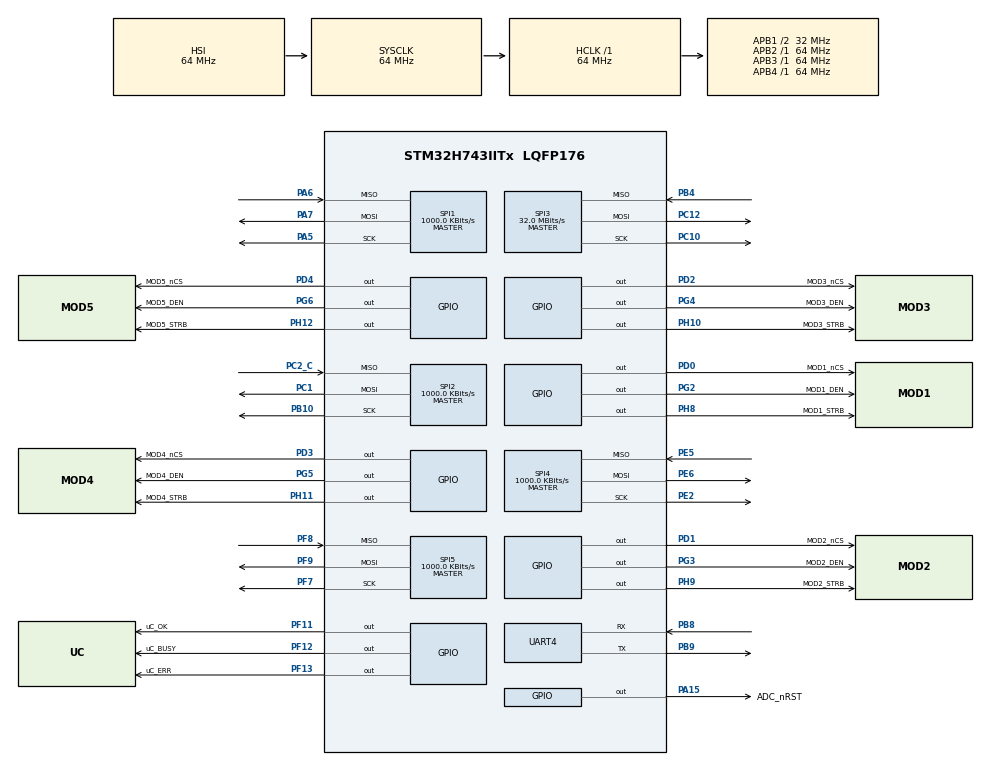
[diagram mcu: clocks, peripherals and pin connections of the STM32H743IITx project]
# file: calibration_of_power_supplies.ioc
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Mcu.Family=STM32H7
PA6.Mode=Full_Duplex_Master
RCC.CortexFreq_Value=64000000
SPI3.Direction=SPI_DIRECTION_2LINES
SPI4.VirtualType=VM_MASTER
PC10.GPIO_PuPd=GPIO_PULLDOWN
SPI3.VirtualType=VM_MASTER
PH12.Signal=GPIO_Output
PG6.Signal=GPIO_Output
PB10.GPIO_Speed=GPIO_SPEED_FREQ_HIGH
SPI1.VirtualType=VM_MASTER
PH10.Signal=GPIO_Output
PB10.GPIO_PuPd=GPIO_PULLDOWN
SPI2.VirtualType=VM_MASTER
PB10.Mode=Full_Duplex_Master
PH0-OSC_IN\ (PH0).Signal=RCC_OSC_IN
PG2.Signal=GPIO_Output
PG4.Signal=GPIO_Output
PC10.Signal=SPI3_SCK
PC12.Signal=SPI3_MOSI
PG6.GPIO_Label=MOD5_DEN
RCC.PLLFRACN=3072
SPI4.Direction=SPI_DIRECTION_2LINES
SPI5.DataSize=SPI_DATASIZE_8BIT
PE2.GPIO_Speed=GPIO_SPEED_FREQ_HIGH
PD0.GPIO_Label=MOD1_nCS
PC10.GPIO_Speed=GPIO_SPEED_FREQ_HIGH
PA15\ (JTDI).Signal=GPIO_Output
PG5.GPIO_Label=MOD4_DEN
ProjectManager.StackSize=0x400
RCC.SPI123CLockSelection=RCC_SPI123CLKSOURCE_CLKP
PA14\ (JTCK/SWCLK).Signal=DEBUG_JTCK-SWCLK
SPI4.Mode=SPI_MODE_MASTER
PE5.GPIO_PuPd=GPIO_PULLDOWN
PF7.Signal=SPI5_SCK
PH9.Signal=GPIO_Output
SPI1.Direction=SPI_DIRECTION_2LINES
RCC.HCLKFreq_Value=64000000
PE2.Mode=Full_Duplex_Master
PD4.Signal=GPIO_Output
PF11.GPIO_Label=uC_OK
PF12.Signal=GPIO_Output
SPI1.CalculateBaudRate=1000.0 KBits/s
PD0.Signal=GPIO_Output
PE5.Signal=SPI4_MISO
PC2_C.Signal=SPI2_MISO
SPI2.BaudRatePrescaler=SPI_BAUDRATEPRESCALER_64
PH10.GPIO_Label=MOD3_STRB
SPI3.DataSize=SPI_DATASIZE_8BIT
RCC.DIVM1=4
PD1.GPIO_Label=MOD2_nCS
PF12.GPIO_Label=uC_BUSY
PA6.GPIO_PuPd=GPIO_PULLDOWN
PF9.Mode=Full_Duplex_Master
PF7.GPIO_Speed=GPIO_SPEED_FREQ_HIGH
PF8.GPIO_PuPd=GPIO_PULLDOWN
PA5.GPIO_PuPd=GPIO_PULLDOWN
PF11.Signal=GPIO_Output
SPI1.DataSize=SPI_DATASIZE_8BIT
PG4.GPIO_Label=MOD3_DEN
SPI2.CalculateBaudRate=1000.0 KBits/s
PE2.Signal=SPI4_SCK
PF8.Mode=Full_Duplex_Master
PA14\ (JTCK/SWCLK).Mode=Serial_Wire
SPI4.BaudRatePrescaler=SPI_BAUDRATEPRESCALER_32
RCC.APB3Freq_Value=64000000
Mcu.Package=LQFP176
PB9.Signal=UART4_TX
SPI5.BaudRatePrescaler=SPI_BAUDRATEPRESCALER_32
PA6.Signal=SPI1_MISO
SPI2.Mode=SPI_MODE_MASTER
SPI3.Mode=SPI_MODE_MASTER
PF8.Signal=SPI5_MISO
SPI5.CalculateBaudRate=1000.0 KBits/s
RCC.APB4Freq_Value=64000000
SPI2.Direction=SPI_DIRECTION_2LINES
PD3.GPIO_Label=MOD4_nCS
SPI1.BaudRatePrescaler=SPI_BAUDRATEPRESCALER_64
PH0-OSC_IN\ (PH0).Mode=HSE-External-Clock-Source
SPI5.VirtualType=VM_MASTER
PG2.GPIO_Label=MOD1_DEN
NVIC.UART4_IRQn=true\:0\:0\:false\:false\:true\:true\:true
PA5.Mode=Full_Duplex_Master
RCC.DIVQ2=8
PA7.Mode=Full_Duplex_Master
PA13\ (JTMS/SWDIO).Mode=Serial_Wire
PH11.Signal=GPIO_Output
PH12.GPIO_Label=MOD5_STRB
SPI4.DataSize=SPI_DATASIZE_8BIT
PG3.Signal=GPIO_Output
PG5.Signal=GPIO_Output
PD3.Signal=GPIO_Output
PC10.Mode=Full_Duplex_Master
PD1.Signal=GPIO_Output
RCC.D2PPRE1=RCC_APB1_DIV2
PF13.GPIO_Label=uC_ERR
SPI5.Mode=SPI_MODE_MASTER
PF7.Mode=Full_Duplex_Master
PH8.GPIO_Label=MOD1_STRB
ProjectManager.TargetToolchain=STM32CubeIDE
PH8.Signal=GPIO_Output
PB9.Mode=Asynchronous
PH11.GPIO_Label=MOD4_STRB
RCC.DIVN2=128
RCC.DIVN1=9
PC2_C.Mode=Full_Duplex_Master
RCC.USBFreq_Value=75000000
PB10.Signal=SPI2_SCK
PE2.GPIO_PuPd=GPIO_PULLDOWN
PA5.Signal=SPI1_SCK
PH9.GPIO_Label=MOD2_STRB
PC12.Mode=Full_Duplex_Master
board=custom
PC2_C.GPIO_PuPd=GPIO_PULLDOWN
RCC.APB2Freq_Value=64000000
SPI3.CalculateBaudRate=32.0 MBits/s
PE6.Mode=Full_Duplex_Master
SPI1.Mode=SPI_MODE_MASTER
PD4.GPIO_Label=MOD5_nCS
PE5.Mode=Full_Duplex_Master
RCC.ADCFreq_Value=128000000
SPI4.CalculateBaudRate=1000.0 KBits/s
PF13.Signal=GPIO_Output
PE6.Signal=SPI4_MOSI
PB4\ (NJTRST).Mode=Full_Duplex_Master
PA15\ (JTDI).GPIO_Label=ADC_nRST
Mcu.Name=STM32H743IITx
PF7.GPIO_PuPd=GPIO_PULLDOWN
RCC.SYSCLKFreq_VALUE=64000000
RCC.Spi45ClockSelection=RCC_SPI45CLKSOURCE_PLL2
ProjectManager.HeapSize=0x200
PF9.Signal=SPI5_MOSI
PA5.GPIO_Speed=GPIO_SPEED_FREQ_HIGH
NVIC.PriorityGroup=NVIC_PRIORITYGROUP_4
RCC.USART234578CLockSelection=RCC_USART234578CLKSOURCE_PLL2
PB8.Mode=Asynchronous
PB8.Signal=UART4_RX
SPI2.DataSize=SPI_DATASIZE_8BIT
PG3.GPIO_Label=MOD2_DEN
PD2.Signal=GPIO_Output
RCC.APB1Freq_Value=32000000
PB4\ (NJTRST).GPIO_PuPd=GPIO_PULLDOWN
PC1.Signal=SPI2_MOSI
PD2.GPIO_Label=MOD3_nCS
PA13\ (JTMS/SWDIO).Signal=DEBUG_JTMS-SWDIO
PC1.Mode=Full_Duplex_Master
SPI5.Direction=SPI_DIRECTION_2LINES
PA7.Signal=SPI1_MOSI
PB4\ (NJTRST).Signal=SPI3_MISO

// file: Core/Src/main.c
/* USER CODE BEGIN Header */
/**
  ******************************************************************************
  * @file           : main.c
  * @brief          : Main program body
  ******************************************************************************
  * @attention
  *
  * <h2><center>&copy; Copyright (c) 2021 STMicroelectronics.
  * All rights reserved.</center></h2>
  *
  * This software component is licensed by ST under BSD 3-Clause license,
  * the "License"; You may not use this file except in compliance with the
  * License. You may obtain a copy of the License at:
  *                        opensource.org/licenses/BSD-3-Clause
  *
  ******************************************************************************
  */
/* USER CODE END Header */
#include "main.h"
#include "stdio.h"
#include "ADS8699.h"
#include "Shift_Register.h"

SPI_HandleTypeDef hspi1;
SPI_HandleTypeDef hspi2;
SPI_HandleTypeDef hspi3;
SPI_HandleTypeDef hspi4;
SPI_HandleTypeDef hspi5;

UART_HandleTypeDef huart4;

void SystemClock_Config(void);
void PeriphCommonClock_Config(void);
static void MX_GPIO_Init(void);
static void MX_SPI1_Init(void);
static void MX_SPI2_Init(void);
static void MX_SPI3_Init(void);
static void MX_UART4_Init(void);
static void MX_SPI4_Init(void);
static void MX_SPI5_Init(void);

/* USER CODE BEGIN 0 */

uint8_t shiftregister_thermocouple=0xE1; // Default data to configure the ADC chip on thermocouple module when power up the calibration station
uint8_t shiftregister_thermocouple1=0xF1; // Configure Channel1 of the ADC in thermocouple module in default
uint8_t tx3;
uint8_t tx4;
int i=1;
int j=0;

//Function to select the current range and gain of the programmable gain instrumentation amplifier

HAL_StatusTypeDef CAL_writeShiftRegister1(SPI_HandleTypeDef* spi1, GPIO_TypeDef* GPIOx, uint16_t GPIO_Pin, uint8_t* tx)

{

  // Make sure we start with strobe pin
  HAL_GPIO_WritePin(GPIOx,GPIO_Pin, GPIO_PIN_RESET); // reset state

  // Write and read
  HAL_SPI_Transmit(spi1, tx,2, 100);

  for(int i = 0; i < 500; i++) { __NOP(); } // Wait N cycles
  HAL_GPIO_WritePin(GPIOx,GPIO_Pin, GPIO_PIN_SET);
  for(int i = 0; i < 500; i++) { __NOP(); } // Wait N cycles
  HAL_GPIO_WritePin(GPIOx,GPIO_Pin, GPIO_PIN_RESET);
}

struct send_data {

	  uint8_t sync ;
	  uint8_t current_range;
	  uint8_t voltage_range;
	  float current_value;              //Structure to transmit and receive data to and from the LCD display
	  float voltage_value;
	  float temperature_chanel1;
	  float temperature_chanel2;
	  float temperature_chanel3;
	  float temperature_chanel4;
	  uint8_t ack;

}send_data;

struct send_data test_tx_data;

char transmit_buffer1[sizeof(send_data)+1];

void HAL_UART_RxCpltCallback(UART_HandleTypeDef *huart)
{

	HAL_UART_Receive_IT(&huart4,transmit_buffer1,sizeof(transmit_buffer1));

	memcpy(&test_tx_data,transmit_buffer1,sizeof(send_data));
}

/* USER CODE END 0 */

int main(void)
{

  /* MCU Configuration--------------------------------------------------------*/

  /* Reset of all peripherals, Initializes the Flash interface and the Systick. */
  HAL_Init();

  /* Configure the system clock */
  SystemClock_Config();

/* Configure the peripherals common clocks */
  PeriphCommonClock_Config();

  /* Initialize all configured peripherals */
  MX_GPIO_Init();
  MX_SPI1_Init();
  MX_SPI2_Init();
  MX_SPI3_Init();
  MX_UART4_Init();
  MX_SPI4_Init();
  MX_SPI5_Init();
  /* USER CODE BEGIN 2 */

  HAL_GPIO_WritePin(GPIOF, uC_OK_Pin, GPIO_PIN_SET); // OK LED turn on -> Init complete

    uint8_t voltage_buff[4];
 	uint8_t current_buff[4];  //Receive buffers to receive 32 bit data from ADC ADS8699 SDO_CTL_REG register using SPI
 	uint8_t temperature_buff[4];

    uint32_t ADC_data[3];
    uint32_t ADC_raw_voltage;
    uint32_t ADC_raw_current;
    uint32_t ADC_raw_temperature;
    float intermediate_result[7];
    float measured_voltage;
    float measured_current;
    float measured_temperature;
    uint8_t shiftregister_current[2]={0x03,0x01}; //Data to select gain and current range

	test_tx_data.sync=0x00;
	test_tx_data.current_range=0x01;
	test_tx_data.voltage_range=0x00;
	test_tx_data.current_value=0x00;
	test_tx_data.voltage_value=0x00;
	test_tx_data.temperature_chanel1=0x00;   // Storing all default values in structure to send to LCD display
	test_tx_data.temperature_chanel2=0x00;
	test_tx_data.temperature_chanel3=0x00;
	test_tx_data.temperature_chanel4=0x00;
	test_tx_data.ack=0x01;

  memcpy(transmit_buffer1,&test_tx_data,sizeof(send_data)); // storing all data from structure to transmit buffer

  while(test_tx_data.ack !=0x1F)

  {

  HAL_UART_Transmit(&huart4,transmit_buffer1,sizeof(transmit_buffer1),100);
  HAL_UART_Receive_IT(&huart4,transmit_buffer1,sizeof(transmit_buffer1));

  }

  HAL_GPIO_WritePin(MOD1_DEN_GPIO_Port, MOD1_DEN_Pin, GPIO_PIN_SET);   // To enable ADC
  HAL_GPIO_WritePin(ADC_nRST_GPIO_Port, ADC_nRST_Pin, GPIO_PIN_SET);   //To reset ADC
  CAL_ADS8699_Configuration(&hspi1,GPIOD, MOD1_nCS_Pin,0x00,0x00,0x00); // function call to configure ADC in slot1

  CAL_writeShiftRegister1(&hspi4,GPIOH,MOD2_STRB_Pin,shiftregister_current);
  HAL_GPIO_WritePin(ADC_nRST_GPIO_Port, ADC_nRST_Pin, GPIO_PIN_SET);
  HAL_GPIO_WritePin(MOD2_DEN_GPIO_Port, MOD2_DEN_Pin, GPIO_PIN_SET);
  CAL_ADS8699_Configuration(&hspi2,MOD2_nCS_GPIO_Port, MOD2_nCS_Pin,0x00,0x00,0x00);  //function call to configure ADC in slot2

  HAL_GPIO_WritePin(ADC_nRST_GPIO_Port, ADC_nRST_Pin, GPIO_PIN_SET);
  HAL_GPIO_WritePin(MOD5_DEN_GPIO_Port, MOD5_DEN_Pin, GPIO_PIN_SET);                //function call to configure ADC inslot 5
  HAL_GPIO_WritePin(MOD5_nCS_GPIO_Port, MOD5_nCS_Pin, GPIO_PIN_RESET);
  CAL_ADC_ThermoCoupleModule_Configuration(&hspi3,&hspi5,MOD5_STRB_GPIO_Port, MOD5_STRB_Pin, &shiftregister_thermocouple,&shiftregister_thermocouple1,0x00,0x00,0x00);

  /* USER CODE END 2 */

  /* Infinite loop */
  while (1)
  {

  CAL_ADS8699_Read_Data(&hspi1,GPIOD, MOD1_nCS_Pin, voltage_buff); // To read data from first slot

  CAL_ADS8699_Read_Data(&hspi2,MOD2_nCS_GPIO_Port, MOD2_nCS_Pin, current_buff); //To read data from second slot

  CAL_ADC_ThermoCoupleModule_Read_Data(&hspi3,&hspi5,MOD5_STRB_GPIO_Port, MOD5_STRB_Pin, &shiftregister_thermocouple,&shiftregister_thermocouple1, temperature_buff); //To read data from third slot

  //Converting measured ADC data into real time values using proper formulas

      ADC_data[0] = voltage_buff[0]<<24|voltage_buff[1]<<16|voltage_buff[2]<<8|voltage_buff[3];
	       ADC_raw_voltage = ADC_data[0]>>14;                         // Considering olny 18 bits data from 32 bit data. Because ADS8699 is a 18 bit ADC
	intermediate_result[0] = (262143-ADC_raw_voltage)*0.00009375;     // Converting ADC raw value into real time voltage using formula 𝑀𝑒𝑎𝑠𝑢𝑟𝑒𝑑_𝑉𝑜𝑙𝑡𝑎𝑔𝑒=𝐼𝑛𝑝𝑢𝑡 𝑟𝑎𝑛𝑔𝑒 𝑜𝑓 𝐴𝐷𝐶−((2^(no.of bits)−𝐴𝐷𝐶 𝑜𝑢𝑡𝑝𝑢𝑡)×𝑅𝑒𝑠𝑜𝑙𝑢𝑡𝑖𝑜𝑛 𝑜𝑓 𝐴𝐷𝐶)
		  measured_voltage = 12.288-intermediate_result[0];

  		       ADC_data[1] = current_buff[0]<<24|current_buff[1]<<16|current_buff[2]<<8|current_buff[3];
  		   ADC_raw_current = ADC_data[1]>>14;
  	intermediate_result[1] = (262143-ADC_raw_current)*0.00009375;
  	intermediate_result[2] = 12.288-intermediate_result[1];
  	intermediate_result[3] = (intermediate_result[2]-2.5)*10.7;    //Converting ADC raw value to current using formula 𝑀𝑒𝑎𝑠𝑢𝑟𝑒𝑑_𝐶𝑢𝑟𝑟𝑒𝑛𝑡=(𝑀𝑒𝑎𝑠𝑢𝑟𝑒𝑑_𝑉𝑜𝑙𝑡𝑎𝑔𝑒−2.5)/(gain of the PGIA×𝑆ℎ𝑢𝑛𝑡 𝑟𝑒𝑠𝑖𝑠𝑡𝑎𝑛𝑐𝑒)
  	intermediate_result[4] = intermediate_result[3]/1000;
  	      measured_current = intermediate_result[4]/10.11;

               ADC_data[2] = temperature_buff[0]<<24|temperature_buff[1]<<16|temperature_buff[2]<<8|temperature_buff[3];
       ADC_raw_temperature = ADC_data[2]>>14;
    intermediate_result[5] = (262143-ADC_raw_temperature)*0.00009375;
    intermediate_result[6] = 12.288-intermediate_result[5];
	  measured_temperature = (intermediate_result[6]/0.005)-3;      //Converting ADC raw value to temperature using formula 𝑀𝑒𝑎𝑠𝑢𝑟𝑒𝑑_𝑇𝑒𝑚𝑝𝑒𝑟𝑎𝑡𝑢𝑟𝑒=(𝑀𝑒𝑎𝑠𝑢𝑟𝑒𝑑_𝑉𝑜𝑙𝑡𝑎𝑔𝑒)/(5𝑚𝑉/°𝐶) + 𝑅𝑒𝑓𝑒𝑟𝑒𝑛𝑐𝑒 𝑉𝑜𝑙𝑡𝑎𝑔𝑒 ± 3°C offset

  HAL_UART_Receive_IT(&huart4,transmit_buffer1,sizeof(transmit_buffer1)); //Receiving data from LCD display and storing in structure
  memcpy(&test_tx_data,transmit_buffer1,sizeof(send_data));

  switch(j)

   {
  			case 0:

  		test_tx_data.temperature_chanel1 = measured_temperature;   //storing the measured temperature in structure depending on the configured channel

  			break;

  		    case 1:

  		test_tx_data.temperature_chanel2 = measured_temperature;

  			break;

  			case 2:

  		test_tx_data.temperature_chanel3 = measured_temperature;

  			break;

  			case 3:

  		test_tx_data.temperature_chanel4 = measured_temperature;

  			break;

  			default:

  		test_tx_data.temperature_chanel1 = measured_temperature;

  			break;
  		}

  if(test_tx_data.sync==0xFF)
  	{

  	    test_tx_data.current_value=measured_current;
  		test_tx_data.voltage_value=measured_voltage; //Transmitting measured data to LCD display
  	    memcpy(transmit_buffer1,&test_tx_data,sizeof(send_data));
        HAL_UART_Transmit(&huart4,(uint8_t *)transmit_buffer1,sizeof(transmit_buffer1),100);
  	}

  if(i!=4)
   {
	  shiftregister_thermocouple=Thermo_Couple_Channel_Select_Data(i);
	  shiftregister_thermocouple1=Thermo_Couple_Channel_Select_Data1(i); //Selecting the channel of ADC in thermocouple module

  	  CAL_ADC_ThermoCoupleModule_Configuration(&hspi3,&hspi5,GPIOH, MOD5_STRB_Pin,&shiftregister_thermocouple,&shiftregister_thermocouple1,0x00,0x00,0x00);	//Reconfiguring the ADC with new data

  	  i=i+1;
  	  j=j+1;

  		}

  	else
  	{

  		CAL_ADC_ThermoCoupleModule_Configuration(&hspi3,&hspi5,GPIOH, MOD5_STRB_Pin,(uint8_t *)0xE1, (uint8_t *)0xF1,0x00,0x00,0x00); //Configuring default channel1 of thermocouple module
  		i=0;
  	    j=0;

  	}

  HAL_Delay(1);
  }
}

void SystemClock_Config(void)
{
  RCC_OscInitTypeDef RCC_OscInitStruct = {0};
  RCC_ClkInitTypeDef RCC_ClkInitStruct = {0};

  /** Supply configuration update enable
  */
  HAL_PWREx_ConfigSupply(PWR_LDO_SUPPLY);
  /** Configure the main internal regulator output voltage
  */
  __HAL_PWR_VOLTAGESCALING_CONFIG(PWR_REGULATOR_VOLTAGE_SCALE3);

  while(!__HAL_PWR_GET_FLAG(PWR_FLAG_VOSRDY)) {}
  /** Macro to configure the PLL clock source
  */
  __HAL_RCC_PLL_PLLSOURCE_CONFIG(RCC_PLLSOURCE_HSI);
  /** Initializes the RCC Oscillators according to the specified parameters
  * in the RCC_OscInitTypeDef structure.
  */
  RCC_OscInitStruct.OscillatorType = RCC_OSCILLATORTYPE_HSI;
  RCC_OscInitStruct.HSIState = RCC_HSI_DIV1;
  RCC_OscInitStruct.HSICalibrationValue = RCC_HSICALIBRATION_DEFAULT;
  RCC_OscInitStruct.PLL.PLLState = RCC_PLL_NONE;
  RCC_OscInitStruct.PLL.PLLSource = RCC_PLLSOURCE_HSI;
  if (HAL_RCC_OscConfig(&RCC_OscInitStruct) != HAL_OK)
  {
    Error_Handler();
  }
  /** Initializes the CPU, AHB and APB buses clocks
  */
  RCC_ClkInitStruct.ClockType = RCC_CLOCKTYPE_HCLK|RCC_CLOCKTYPE_SYSCLK
                              |RCC_CLOCKTYPE_PCLK1|RCC_CLOCKTYPE_PCLK2
                              |RCC_CLOCKTYPE_D3PCLK1|RCC_CLOCKTYPE_D1PCLK1;
  RCC_ClkInitStruct.SYSCLKSource = RCC_SYSCLKSOURCE_HSI;
  RCC_ClkInitStruct.SYSCLKDivider = RCC_SYSCLK_DIV1;
  RCC_ClkInitStruct.AHBCLKDivider = RCC_HCLK_DIV1;
  RCC_ClkInitStruct.APB3CLKDivider = RCC_APB3_DIV1;
  RCC_ClkInitStruct.APB1CLKDivider = RCC_APB1_DIV2;
  RCC_ClkInitStruct.APB2CLKDivider = RCC_APB2_DIV1;
  RCC_ClkInitStruct.APB4CLKDivider = RCC_APB4_DIV1;

  if (HAL_RCC_ClockConfig(&RCC_ClkInitStruct, FLASH_LATENCY_1) != HAL_OK)
  {
    Error_Handler();
  }
}

void PeriphCommonClock_Config(void)
{
  RCC_PeriphCLKInitTypeDef PeriphClkInitStruct = {0};

  /** Initializes the peripherals clock
  */
  PeriphClkInitStruct.PeriphClockSelection = RCC_PERIPHCLK_SPI4|RCC_PERIPHCLK_SPI5
                              |RCC_PERIPHCLK_UART4|RCC_PERIPHCLK_CKPER;
  PeriphClkInitStruct.PLL2.PLL2M = 32;
  PeriphClkInitStruct.PLL2.PLL2N = 128;
  PeriphClkInitStruct.PLL2.PLL2P = 2;
  PeriphClkInitStruct.PLL2.PLL2Q = 8;
  PeriphClkInitStruct.PLL2.PLL2R = 2;
  PeriphClkInitStruct.PLL2.PLL2RGE = RCC_PLL2VCIRANGE_1;
  PeriphClkInitStruct.PLL2.PLL2VCOSEL = RCC_PLL2VCOWIDE;
  PeriphClkInitStruct.PLL2.PLL2FRACN = 0;
  PeriphClkInitStruct.CkperClockSelection = RCC_CLKPSOURCE_HSI;
  PeriphClkInitStruct.Spi45ClockSelection = RCC_SPI45CLKSOURCE_PLL2;
  PeriphClkInitStruct.Usart234578ClockSelection = RCC_USART234578CLKSOURCE_PLL2;
  if (HAL_RCCEx_PeriphCLKConfig(&PeriphClkInitStruct) != HAL_OK)
  {
    Error_Handler();
  }
}

static void MX_SPI1_Init(void)
{

  /* SPI1 parameter configuration*/
  hspi1.Instance = SPI1;
  hspi1.Init.Mode = SPI_MODE_MASTER;
  hspi1.Init.Direction = SPI_DIRECTION_2LINES;
  hspi1.Init.DataSize = SPI_DATASIZE_8BIT;
  hspi1.Init.CLKPolarity = SPI_POLARITY_LOW;
  hspi1.Init.CLKPhase = SPI_PHASE_1EDGE;
  hspi1.Init.NSS = SPI_NSS_SOFT;
  hspi1.Init.BaudRatePrescaler = SPI_BAUDRATEPRESCALER_64;
  hspi1.Init.FirstBit = SPI_FIRSTBIT_MSB;
  hspi1.Init.TIMode = SPI_TIMODE_DISABLE;
  hspi1.Init.CRCCalculation = SPI_CRCCALCULATION_DISABLE;
  hspi1.Init.CRCPolynomial = 0x0;
  hspi1.Init.NSSPMode = SPI_NSS_PULSE_ENABLE;
  hspi1.Init.NSSPolarity = SPI_NSS_POLARITY_LOW;
  hspi1.Init.FifoThreshold = SPI_FIFO_THRESHOLD_01DATA;
  hspi1.Init.TxCRCInitializationPattern = SPI_CRC_INITIALIZATION_ALL_ZERO_PATTERN;
  hspi1.Init.RxCRCInitializationPattern = SPI_CRC_INITIALIZATION_ALL_ZERO_PATTERN;
  hspi1.Init.MasterSSIdleness = SPI_MASTER_SS_IDLENESS_00CYCLE;
  hspi1.Init.MasterInterDataIdleness = SPI_MASTER_INTERDATA_IDLENESS_00CYCLE;
  hspi1.Init.MasterReceiverAutoSusp = SPI_MASTER_RX_AUTOSUSP_DISABLE;
  hspi1.Init.MasterKeepIOState = SPI_MASTER_KEEP_IO_STATE_DISABLE;
  hspi1.Init.IOSwap = SPI_IO_SWAP_DISABLE;
  if (HAL_SPI_Init(&hspi1) != HAL_OK)
  {
    Error_Handler();
  }

}

static void MX_SPI2_Init(void)
{

  /* SPI2 parameter configuration*/
  hspi2.Instance = SPI2;
  hspi2.Init.Mode = SPI_MODE_MASTER;
  hspi2.Init.Direction = SPI_DIRECTION_2LINES;
  hspi2.Init.DataSize = SPI_DATASIZE_8BIT;
  hspi2.Init.CLKPolarity = SPI_POLARITY_LOW;
  hspi2.Init.CLKPhase = SPI_PHASE_1EDGE;
  hspi2.Init.NSS = SPI_NSS_SOFT;
  hspi2.Init.BaudRatePrescaler = SPI_BAUDRATEPRESCALER_64;
  hspi2.Init.FirstBit = SPI_FIRSTBIT_MSB;
  hspi2.Init.TIMode = SPI_TIMODE_DISABLE;
  hspi2.Init.CRCCalculation = SPI_CRCCALCULATION_DISABLE;
  hspi2.Init.CRCPolynomial = 0x0;
  hspi2.Init.NSSPMode = SPI_NSS_PULSE_ENABLE;
  hspi2.Init.NSSPolarity = SPI_NSS_POLARITY_LOW;
  hspi2.Init.FifoThreshold = SPI_FIFO_THRESHOLD_01DATA;
  hspi2.Init.TxCRCInitializationPattern = SPI_CRC_INITIALIZATION_ALL_ZERO_PATTERN;
  hspi2.Init.RxCRCInitializationPattern = SPI_CRC_INITIALIZATION_ALL_ZERO_PATTERN;
  hspi2.Init.MasterSSIdleness = SPI_MASTER_SS_IDLENESS_00CYCLE;
  hspi2.Init.MasterInterDataIdleness = SPI_MASTER_INTERDATA_IDLENESS_00CYCLE;
  hspi2.Init.MasterReceiverAutoSusp = SPI_MASTER_RX_AUTOSUSP_DISABLE;
  hspi2.Init.MasterKeepIOState = SPI_MASTER_KEEP_IO_STATE_DISABLE;
  hspi2.Init.IOSwap = SPI_IO_SWAP_DISABLE;
  if (HAL_SPI_Init(&hspi2) != HAL_OK)
  {
    Error_Handler();
  }

}

static void MX_SPI3_Init(void)
{

  /* SPI3 parameter configuration*/
  hspi3.Instance = SPI3;
  hspi3.Init.Mode = SPI_MODE_MASTER;
  hspi3.Init.Direction = SPI_DIRECTION_2LINES;
  hspi3.Init.DataSize = SPI_DATASIZE_8BIT;
  hspi3.Init.CLKPolarity = SPI_POLARITY_LOW;
  hspi3.Init.CLKPhase = SPI_PHASE_1EDGE;
  hspi3.Init.NSS = SPI_NSS_SOFT;
  hspi3.Init.BaudRatePrescaler = SPI_BAUDRATEPRESCALER_2;
  hspi3.Init.FirstBit = SPI_FIRSTBIT_MSB;
  hspi3.Init.TIMode = SPI_TIMODE_DISABLE;
  hspi3.Init.CRCCalculation = SPI_CRCCALCULATION_DISABLE;
  hspi3.Init.CRCPolynomial = 0x0;
  hspi3.Init.NSSPMode = SPI_NSS_PULSE_ENABLE;
  hspi3.Init.NSSPolarity = SPI_NSS_POLARITY_LOW;
  hspi3.Init.FifoThreshold = SPI_FIFO_THRESHOLD_01DATA;
  hspi3.Init.TxCRCInitializationPattern = SPI_CRC_INITIALIZATION_ALL_ZERO_PATTERN;
  hspi3.Init.RxCRCInitializationPattern = SPI_CRC_INITIALIZATION_ALL_ZERO_PATTERN;
  hspi3.Init.MasterSSIdleness = SPI_MASTER_SS_IDLENESS_00CYCLE;
  hspi3.Init.MasterInterDataIdleness = SPI_MASTER_INTERDATA_IDLENESS_00CYCLE;
  hspi3.Init.MasterReceiverAutoSusp = SPI_MASTER_RX_AUTOSUSP_DISABLE;
  hspi3.Init.MasterKeepIOState = SPI_MASTER_KEEP_IO_STATE_DISABLE;
  hspi3.Init.IOSwap = SPI_IO_SWAP_DISABLE;
  if (HAL_SPI_Init(&hspi3) != HAL_OK)
  {
    Error_Handler();
  }

}

static void MX_SPI4_Init(void)
{

  /* SPI4 parameter configuration*/
  hspi4.Instance = SPI4;
  hspi4.Init.Mode = SPI_MODE_MASTER;
  hspi4.Init.Direction = SPI_DIRECTION_2LINES;
  hspi4.Init.DataSize = SPI_DATASIZE_8BIT;
  hspi4.Init.CLKPolarity = SPI_POLARITY_LOW;
  hspi4.Init.CLKPhase = SPI_PHASE_1EDGE;
  hspi4.Init.NSS = SPI_NSS_SOFT;
  hspi4.Init.BaudRatePrescaler = SPI_BAUDRATEPRESCALER_32;
  hspi4.Init.FirstBit = SPI_FIRSTBIT_MSB;
  hspi4.Init.TIMode = SPI_TIMODE_DISABLE;
  hspi4.Init.CRCCalculation = SPI_CRCCALCULATION_DISABLE;
  hspi4.Init.CRCPolynomial = 0x0;
  hspi4.Init.NSSPMode = SPI_NSS_PULSE_ENABLE;
  hspi4.Init.NSSPolarity = SPI_NSS_POLARITY_LOW;
  hspi4.Init.FifoThreshold = SPI_FIFO_THRESHOLD_01DATA;
  hspi4.Init.TxCRCInitializationPattern = SPI_CRC_INITIALIZATION_ALL_ZERO_PATTERN;
  hspi4.Init.RxCRCInitializationPattern = SPI_CRC_INITIALIZATION_ALL_ZERO_PATTERN;
  hspi4.Init.MasterSSIdleness = SPI_MASTER_SS_IDLENESS_00CYCLE;
  hspi4.Init.MasterInterDataIdleness = SPI_MASTER_INTERDATA_IDLENESS_00CYCLE;
  hspi4.Init.MasterReceiverAutoSusp = SPI_MASTER_RX_AUTOSUSP_DISABLE;
  hspi4.Init.MasterKeepIOState = SPI_MASTER_KEEP_IO_STATE_DISABLE;
  hspi4.Init.IOSwap = SPI_IO_SWAP_DISABLE;
  if (HAL_SPI_Init(&hspi4) != HAL_OK)
  {
    Error_Handler();
  }

}

static void MX_SPI5_Init(void)
{

  /* SPI5 parameter configuration*/
  hspi5.Instance = SPI5;
  hspi5.Init.Mode = SPI_MODE_MASTER;
  hspi5.Init.Direction = SPI_DIRECTION_2LINES;
  hspi5.Init.DataSize = SPI_DATASIZE_8BIT;
  hspi5.Init.CLKPolarity = SPI_POLARITY_LOW;
  hspi5.Init.CLKPhase = SPI_PHASE_1EDGE;
  hspi5.Init.NSS = SPI_NSS_SOFT;
  hspi5.Init.BaudRatePrescaler = SPI_BAUDRATEPRESCALER_32;
  hspi5.Init.FirstBit = SPI_FIRSTBIT_MSB;
  hspi5.Init.TIMode = SPI_TIMODE_DISABLE;
  hspi5.Init.CRCCalculation = SPI_CRCCALCULATION_DISABLE;
  hspi5.Init.CRCPolynomial = 0x0;
  hspi5.Init.NSSPMode = SPI_NSS_PULSE_ENABLE;
  hspi5.Init.NSSPolarity = SPI_NSS_POLARITY_LOW;
  hspi5.Init.FifoThreshold = SPI_FIFO_THRESHOLD_01DATA;
  hspi5.Init.TxCRCInitializationPattern = SPI_CRC_INITIALIZATION_ALL_ZERO_PATTERN;
  hspi5.Init.RxCRCInitializationPattern = SPI_CRC_INITIALIZATION_ALL_ZERO_PATTERN;
  hspi5.Init.MasterSSIdleness = SPI_MASTER_SS_IDLENESS_00CYCLE;
  hspi5.Init.MasterInterDataIdleness = SPI_MASTER_INTERDATA_IDLENESS_00CYCLE;
  hspi5.Init.MasterReceiverAutoSusp = SPI_MASTER_RX_AUTOSUSP_DISABLE;
  hspi5.Init.MasterKeepIOState = SPI_MASTER_KEEP_IO_STATE_DISABLE;
  hspi5.Init.IOSwap = SPI_IO_SWAP_DISABLE;
  if (HAL_SPI_Init(&hspi5) != HAL_OK)
  {
    Error_Handler();
  }

}

static void MX_UART4_Init(void)
{

  huart4.Instance = UART4;
  huart4.Init.BaudRate = 115200;
  huart4.Init.WordLength = UART_WORDLENGTH_8B;
  huart4.Init.StopBits = UART_STOPBITS_1;
  huart4.Init.Parity = UART_PARITY_NONE;
  huart4.Init.Mode = UART_MODE_TX_RX;
  huart4.Init.HwFlowCtl = UART_HWCONTROL_NONE;
  huart4.Init.OverSampling = UART_OVERSAMPLING_16;
  huart4.Init.OneBitSampling = UART_ONE_BIT_SAMPLE_DISABLE;
  huart4.Init.ClockPrescaler = UART_PRESCALER_DIV1;
  huart4.AdvancedInit.AdvFeatureInit = UART_ADVFEATURE_NO_INIT;
  if (HAL_UART_Init(&huart4) != HAL_OK)
  {
    Error_Handler();
  }
  if (HAL_UARTEx_SetTxFifoThreshold(&huart4, UART_TXFIFO_THRESHOLD_1_8) != HAL_OK)
  {
    Error_Handler();
  }
  if (HAL_UARTEx_SetRxFifoThreshold(&huart4, UART_RXFIFO_THRESHOLD_1_8) != HAL_OK)
  {
    Error_Handler();
  }
  if (HAL_UARTEx_DisableFifoMode(&huart4) != HAL_OK)
  {
    Error_Handler();
  }

}

static void MX_GPIO_Init(void)
{
  GPIO_InitTypeDef GPIO_InitStruct = {0};

  /* GPIO Ports Clock Enable */
  __HAL_RCC_GPIOE_CLK_ENABLE();
  __HAL_RCC_GPIOF_CLK_ENABLE();
  __HAL_RCC_GPIOH_CLK_ENABLE();
  __HAL_RCC_GPIOC_CLK_ENABLE();
  __HAL_RCC_GPIOA_CLK_ENABLE();
  __HAL_RCC_GPIOB_CLK_ENABLE();
  __HAL_RCC_GPIOG_CLK_ENABLE();
  __HAL_RCC_GPIOD_CLK_ENABLE();

  /*Configure GPIO pin Output Level */
  HAL_GPIO_WritePin(GPIOF, uC_OK_Pin|uC_BUSY_Pin|uC_ERR_Pin, GPIO_PIN_RESET);

  /*Configure GPIO pin Output Level */
  HAL_GPIO_WritePin(GPIOH, MOD1_STRB_Pin|MOD2_STRB_Pin|MOD3_STRB_Pin|MOD4_STRB_Pin
                          |MOD5_STRB_Pin, GPIO_PIN_RESET);

  /*Configure GPIO pin Output Level */
  HAL_GPIO_WritePin(GPIOG, MOD1_DEN_Pin|MOD2_DEN_Pin|MOD3_DEN_Pin|MOD4_DEN_Pin
                          |MOD5_DEN_Pin, GPIO_PIN_RESET);

  /*Configure GPIO pin Output Level */
  HAL_GPIO_WritePin(ADC_nRST_GPIO_Port, ADC_nRST_Pin, GPIO_PIN_RESET);

  /*Configure GPIO pin Output Level */
  HAL_GPIO_WritePin(GPIOD, MOD1_nCS_Pin|MOD2_nCS_Pin|MOD3_nCS_Pin|MOD4_nCS_Pin
                          |MOD5_nCS_Pin, GPIO_PIN_RESET);

  /*Configure GPIO pins : uC_OK_Pin uC_BUSY_Pin uC_ERR_Pin */
  GPIO_InitStruct.Pin = uC_OK_Pin|uC_BUSY_Pin|uC_ERR_Pin;
  GPIO_InitStruct.Mode = GPIO_MODE_OUTPUT_PP;
  GPIO_InitStruct.Pull = GPIO_NOPULL;
  GPIO_InitStruct.Speed = GPIO_SPEED_FREQ_LOW;
  HAL_GPIO_Init(GPIOF, &GPIO_InitStruct);

  /*Configure GPIO pins : MOD1_STRB_Pin MOD2_STRB_Pin MOD3_STRB_Pin MOD4_STRB_Pin
                           MOD5_STRB_Pin */
  GPIO_InitStruct.Pin = MOD1_STRB_Pin|MOD2_STRB_Pin|MOD3_STRB_Pin|MOD4_STRB_Pin
                          |MOD5_STRB_Pin;
  GPIO_InitStruct.Mode = GPIO_MODE_OUTPUT_PP;
  GPIO_InitStruct.Pull = GPIO_NOPULL;
  GPIO_InitStruct.Speed = GPIO_SPEED_FREQ_LOW;
  HAL_GPIO_Init(GPIOH, &GPIO_InitStruct);

  /*Configure GPIO pins : MOD1_DEN_Pin MOD2_DEN_Pin MOD3_DEN_Pin MOD4_DEN_Pin
                           MOD5_DEN_Pin */
  GPIO_InitStruct.Pin = MOD1_DEN_Pin|MOD2_DEN_Pin|MOD3_DEN_Pin|MOD4_DEN_Pin
                          |MOD5_DEN_Pin;
  GPIO_InitStruct.Mode = GPIO_MODE_OUTPUT_PP;
  GPIO_InitStruct.Pull = GPIO_NOPULL;
  GPIO_InitStruct.Speed = GPIO_SPEED_FREQ_LOW;
  HAL_GPIO_Init(GPIOG, &GPIO_InitStruct);

  /*Configure GPIO pin : ADC_nRST_Pin */
  GPIO_InitStruct.Pin = ADC_nRST_Pin;
  GPIO_InitStruct.Mode = GPIO_MODE_OUTPUT_PP;
  GPIO_InitStruct.Pull = GPIO_NOPULL;
  GPIO_InitStruct.Speed = GPIO_SPEED_FREQ_LOW;
  HAL_GPIO_Init(ADC_nRST_GPIO_Port, &GPIO_InitStruct);

  /*Configure GPIO pins : MOD1_nCS_Pin MOD2_nCS_Pin MOD3_nCS_Pin MOD4_nCS_Pin
                           MOD5_nCS_Pin */
  GPIO_InitStruct.Pin = MOD1_nCS_Pin|MOD2_nCS_Pin|MOD3_nCS_Pin|MOD4_nCS_Pin
                          |MOD5_nCS_Pin;
  GPIO_InitStruct.Mode = GPIO_MODE_OUTPUT_PP;
  GPIO_InitStruct.Pull = GPIO_NOPULL;
  GPIO_InitStruct.Speed = GPIO_SPEED_FREQ_LOW;
  HAL_GPIO_Init(GPIOD, &GPIO_InitStruct);

}

void Error_Handler(void)
{
  __disable_irq();
  while (1)
  {
  }
}

/************************ (C) COPYRIGHT STMicroelectronics *****END OF FILE****/
